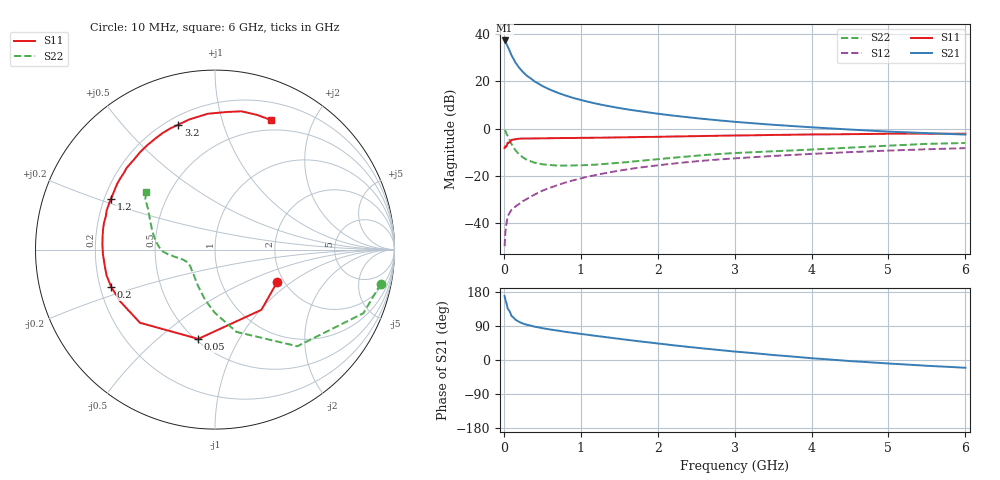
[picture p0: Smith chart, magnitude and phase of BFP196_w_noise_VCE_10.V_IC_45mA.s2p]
! (c) 2017  Infineon Technologies AG, Munich
! Infineon Technologies  Discrete & RF Semiconductors
! BFP196
! VCE =  10. V,  IC =  45 mA
! Common Emitter S-Parameters:  Jan 2017
# GHz  S  MA  R  50
!  f  S11  S21  S12  S22
! GHz  MAG  ANG  MAG  ANG  MAG  ANG  MAG  ANG
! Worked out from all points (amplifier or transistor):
!   77 points, 10 MHz to 6 GHz, reference 50 ohm
!   highest |S21| = 37.3 dB at 10 MHz (marker M1)
!   |S21| within 3 dB of that: start of sweep to 56.18 MHz
!   unconditionally stable (mu >= 1): 597.3 MHz to 2.383 GHz
!   at 130 MHz: K = 0.55, MSG = 31.4 dB, |S12| = -33.4 dB
!   at 2.2 GHz: K = 1.01, MAG = 9.5 dB, |S12| = -14.8 dB
!   at 6 GHz: K = 0.93, MSG = 2.9 dB, |S12| = -8.2 dB
!   lowest NFmin = 1.39 dB at 450 MHz
!   S11 on the Smith chart (normalised r, x): 10 MHz: 1.85, -0.78; 50 MHz: 0.52, -0.69; 200 MHz: 0.25, -0.16; 1.2 GHz: 0.23, +0.22; 3.2 GHz: 0.24, +0.72; 6 GHz: 0.38, +1.45
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0.01  0.3909 -27.3  73.32 168.7  0.0033 79.6  0.9434 -11.6
0.02  0.4236 -52.4  70.88 159.0  0.0064 71.5  0.8996 -23.2
0.05  0.5062 -100.6  54.54 136.0  0.014 57.7  0.7071 -49.6
0.1  0.5839 -135.7  35.39 116.1  0.0194 52.5  0.4737 -75.4
0.15  0.6022 -151.4  25.17 106.4  0.0226 51.3  0.3513 -90.3
0.2  0.6147 -160.3  19.37 100.4  0.0259 53.5  0.2859 -101.0
0.25  0.6211 -166.5  15.68 96.0  0.0296 56.3  0.246 -108.9
0.3  0.6207 -170.9  13.15 93.0  0.0329 58.0  0.2203 -115.9
0.4  0.6248 -177.4  9.977 87.9  0.0406 62.0  0.1919 -126.2
0.5  0.628 177.4  8.007 84.0  0.049 63.2  0.1775 -134.0
0.6  0.6302 173.5  6.707 80.6  0.0565 64.0  0.1711 -140.2
0.7  0.6339 169.8  5.754 77.6  0.0645 64.8  0.1664 -144.9
0.9  0.6361 163.0  4.484 71.6  0.0811 64.4  0.1676 -151.3
1.1  0.6432 157.0  3.697 66.3  0.0979 63.1  0.1715 -156.2
1.2  0.6454 154.0  3.393 63.5  0.1056 62.2  0.1745 -158.3
1.6  0.6604 143.0  2.575 53.3  0.138 58.3  0.1966 -164.6
2.1  0.6793 129.7  1.984 41.4  0.1758 52.2  0.2353 -171.0
3.1  0.7223 108.3  1.361 20.7  0.2422 39.4  0.3115 177.3
3.2  0.7255 106.4  1.322 18.9  0.2479 38.2  0.3168 175.9
4.1  0.7587 91.7  1.049 3.3  0.2991 27.6  0.3698 162.0
5.1  0.784 77.9  0.856 -10.4  0.3498 16.0  0.4463 147.6
6  0.7859 66.8  0.752 -20.5  0.3889 6.0  0.5004 140.1
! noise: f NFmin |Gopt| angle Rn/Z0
0.45  1.39  0.37  -180  0.06
0.9  1.55  0.46  -166  0.07
1.9  2.36  0.68  -133  0.3
2.4  2.76  0.7  -120  0.65
